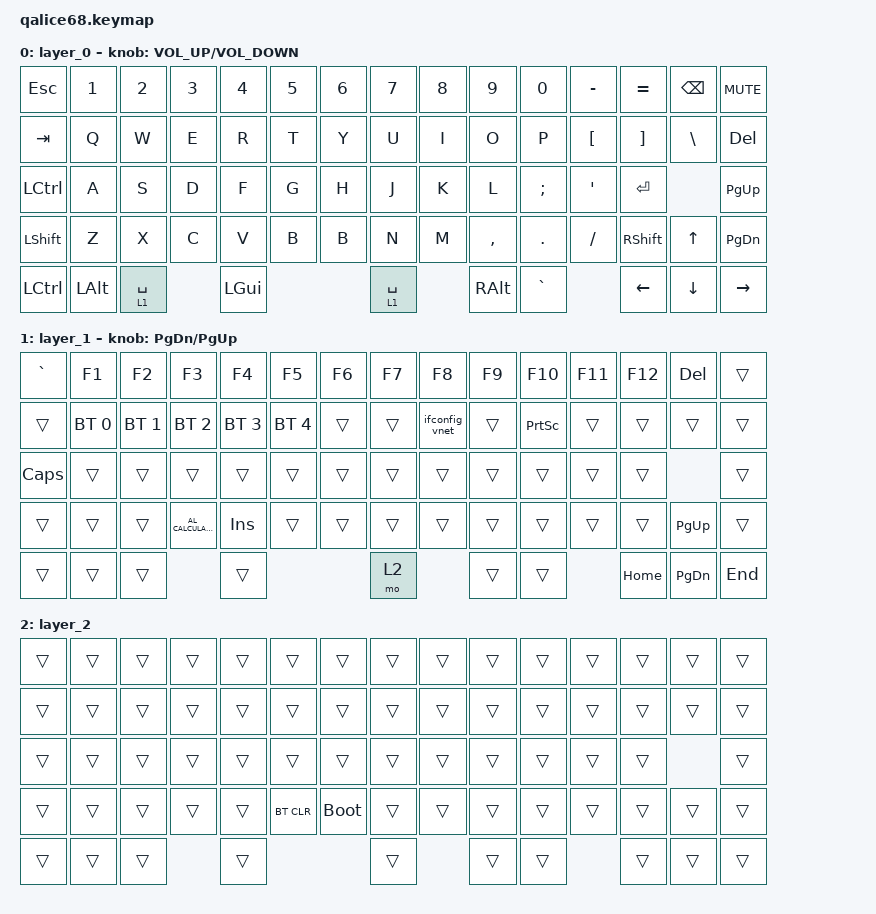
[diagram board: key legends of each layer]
/*
 * Copyright (c) 2020 The ZMK Contributors
 *
 * SPDX-License-Identifier: MIT
 */

#include <behaviors.dtsi>
#include <dt-bindings/zmk/bt.h>
#include <dt-bindings/zmk/keys.h>

/ {
    macros {
        ifconfig_vnet: ifconfig_vnet {
            compatible = "zmk,behavior-macro";
            #binding-cells = <0>;
            bindings = <&none &kp I &kp F &kp C &kp O &kp N &kp F &kp I &kp G &kp SPACE &kp V &kp N &kp E &kp T &kp SPACE &kp N1 &kp DOT &kp N1 &kp DOT &kp N1 &kp DOT &kp N1>;
            label = "IFCONFIG_VNET";
        };
    };

    keymap {
        compatible = "zmk,keymap";

        layer_0 {
            bindings = <
&kp ESC    &kp N1    &kp N2       &kp N3  &kp N4    &kp N5  &kp N6  &kp N7       &kp N8  &kp N9     &kp N0     &kp MINUS  &kp EQUAL       &kp BSPC        &kp C_MUTE
&kp TAB    &kp Q     &kp W        &kp E   &kp R     &kp T   &kp Y   &kp U        &kp I   &kp O      &kp P      &kp LBKT   &kp RBKT        &kp BSLH        &kp DELETE
&kp LCTRL  &kp A     &kp S        &kp D   &kp F     &kp G   &kp H   &kp J        &kp K   &kp L      &kp SEMI   &kp APOS   &kp ENTER                       &kp PAGE_UP
&kp LSHFT  &kp Z     &kp X        &kp C   &kp V     &kp B   &kp B   &kp N        &kp M   &kp COMMA  &kp DOT    &kp FSLH   &kp RSHFT       &kp UP_ARROW    &kp PAGE_DOWN
&kp LCTRL  &kp LALT  &lt 1 SPACE          &kp LGUI                  &lt 1 SPACE          &kp RALT   &kp GRAVE             &kp LEFT_ARROW  &kp DOWN_ARROW  &kp RIGHT_ARROW
            >;

            sensor-bindings = <&inc_dec_kp C_VOLUME_UP C_VOLUME_DOWN>;
        };

        layer_1 {
            bindings = <
&kp GRAVE  &kp F1        &kp F2        &kp F3               &kp F4        &kp F5        &kp F6  &kp F7  &kp F8          &kp F9  &kp F10          &kp F11  &kp F12   &kp DELETE     &trans
&trans     &bt BT_SEL 0  &bt BT_SEL 1  &bt BT_SEL 2         &bt BT_SEL 3  &bt BT_SEL 4  &trans  &trans  &ifconfig_vnet  &trans  &kp PRINTSCREEN  &trans   &trans    &trans         &trans
&kp CAPS   &trans        &trans        &trans               &trans        &trans        &trans  &trans  &trans          &trans  &trans           &trans   &trans                   &trans
&trans     &trans        &trans        &kp C_AL_CALCULATOR  &kp INS       &trans        &trans  &trans  &trans          &trans  &trans           &trans   &trans    &kp PAGE_UP    &trans
&trans     &trans        &trans                             &trans                              &mo 2                   &trans  &trans                    &kp HOME  &kp PAGE_DOWN  &kp END
            >;

            sensor-bindings = <&inc_dec_kp PAGE_DOWN PAGE_UP>;
        };

        layer_2 {
            bindings = <
&trans  &trans  &trans  &trans  &trans  &trans      &trans       &trans  &trans  &trans  &trans  &trans  &trans  &trans  &trans
&trans  &trans  &trans  &trans  &trans  &trans      &trans       &trans  &trans  &trans  &trans  &trans  &trans  &trans  &trans
&trans  &trans  &trans  &trans  &trans  &trans      &trans       &trans  &trans  &trans  &trans  &trans  &trans          &trans
&trans  &trans  &trans  &trans  &trans  &bt BT_CLR  &bootloader  &trans  &trans  &trans  &trans  &trans  &trans  &trans  &trans
&trans  &trans  &trans          &trans                           &trans          &trans  &trans          &trans  &trans  &trans
            >;
        };
    };
};
